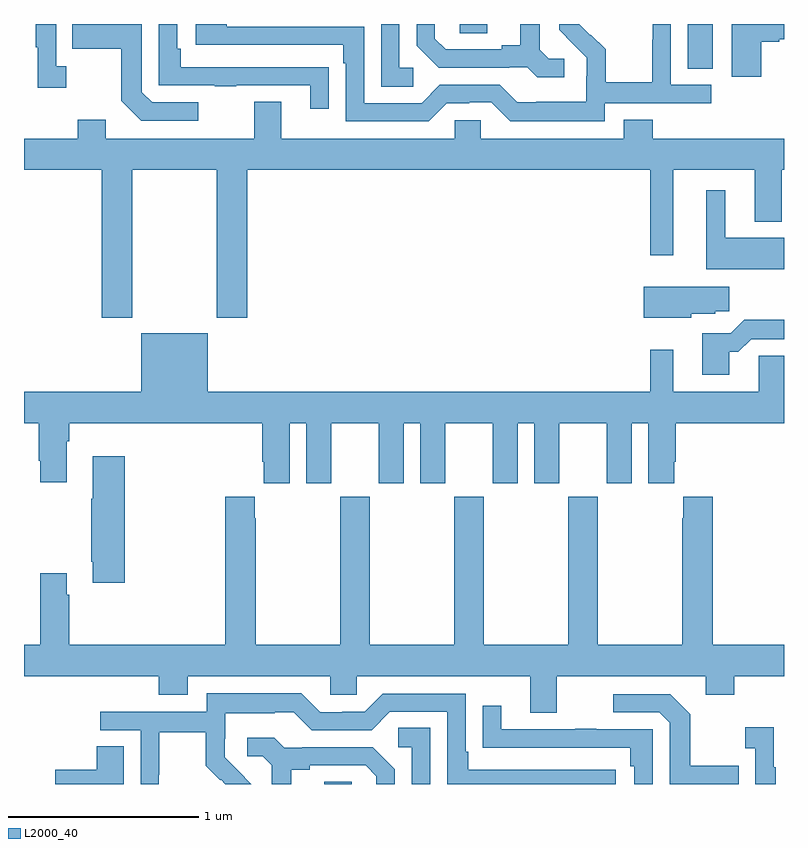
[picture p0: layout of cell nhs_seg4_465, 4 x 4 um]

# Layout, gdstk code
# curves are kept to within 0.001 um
import gdstk
lib = gdstk.Library(unit=1e-6, precision=1e-09)
def R(c, l, rs):  # rectangles x0, y0, x1, y1
    for r in rs: c.add(gdstk.rectangle(r[:2], r[2:], *l))
def P(c, l, *ps):  # polygons
    for p in ps: c.add(gdstk.Polygon(p, *l))
L2000_40 = (2000, 40)

nhs_seg4_465 = lib.new_cell('nhs_seg4_465')
R(nhs_seg4_465, L2000_40, [(134.579,814.9,134.724,814.913), (136.493,818.665,136.624,818.9), (135.294,818.851,135.439,818.9)])
P(nhs_seg4_465, L2000_40, [(135.844,818.718),(135.762,818.718),(135.715,818.765),(135.715,818.9),(135.611,818.9),(135.611,818.789),(135.515,818.789),(135.515,818.766),(135.22,818.766),(135.163,818.823),(135.163,818.9),(135.066,818.9),(135.066,818.786),(135.182,818.67),(135.554,818.67),(135.554,818.673),(135.648,818.673),(135.7,818.621),(135.844,818.621)],
  [(136.056,818.484),(136.618,818.484),(136.618,818.58),(136.404,818.58),(136.404,818.9),(136.308,818.9),(136.308,818.816),(136.306,818.816),(136.306,818.593),(136.061,818.593),(136.061,818.767),(135.984,818.844),(135.981,818.841),(135.923,818.9),(135.816,818.9),(135.816,818.87),(135.962,818.722),(135.962,818.625),(135.96,818.625),(135.96,818.491),(135.697,818.491),(135.697,818.487),(135.597,818.487),(135.504,818.58),(135.189,818.58),(135.093,818.484),(134.79,818.484),(134.79,818.886),(134.066,818.886),(134.066,818.9),(133.905,818.9),(133.905,818.79),(134.681,818.79),(134.681,818.693),(134.694,818.693),(134.694,818.388),(135.129,818.388),(135.225,818.484),(135.344,818.484),(135.344,818.487),(135.459,818.487),(135.559,818.387),(136.056,818.387)],
  [(135.049,818.67),(134.976,818.67),(134.976,818.9),(134.88,818.9),(134.88,818.569),(135.049,818.569)],
  [(136.879,818.807),(136.975,818.807),(136.975,818.819),(137,818.819),(137,818.9),(136.724,818.9),(136.724,818.622),(136.879,818.622)],
  [(133.918,818.487),(133.674,818.487),(133.62,818.541),(133.62,818.9),(133.255,818.9),(133.255,818.77),(133.512,818.77),(133.512,818.497),(133.617,818.391),(133.918,818.391)],
  [(134.603,818.672),(134.501,818.672),(134.501,818.673),(133.826,818.673),(133.826,818.77),(133.806,818.77),(133.806,818.9),(133.71,818.9),(133.71,818.577),(134.005,818.577),(134.005,818.572),(134.117,818.572),(134.117,818.577),(134.507,818.577),(134.507,818.454),(134.603,818.454)],
  [(133.222,818.678),(133.17,818.678),(133.17,818.9),(133.062,818.9),(133.062,818.777),(133.073,818.777),(133.073,818.565),(133.222,818.565)],
  [(133.569,818.132),(134.014,818.132),(134.014,817.353),(134.174,817.353),(134.174,818.132),(136.296,818.132),(136.296,817.683),(136.417,817.683),(136.417,818.132),(136.847,818.132),(136.847,817.859),(136.987,817.859),(136.987,818.132),(137,818.132),(137,818.296),(136.31,818.296),(136.31,818.395),(136.157,818.395),(136.157,818.296),(135.405,818.296),(135.405,818.394),(135.267,818.394),(135.267,818.296),(134.353,818.296),(134.353,818.491),(134.213,818.491),(134.213,818.296),(133.429,818.296),(133.429,818.395),(133.282,818.395),(133.282,818.296),(133,818.296),(133,818.132),(133.409,818.132),(133.409,817.353),(133.569,817.353)],
  [(137,817.774),(136.69,817.774),(136.69,818.026),(136.592,818.026),(136.592,817.61),(137,817.61)],
  [(136.512,817.376),(136.638,817.376),(136.638,817.387),(136.711,817.387),(136.711,817.516),(136.262,817.516),(136.262,817.355),(136.512,817.355)],
  [(136.711,817.175),(136.76,817.175),(136.827,817.242),(137,817.242),(137,817.343),(136.79,817.343),(136.719,817.272),(136.571,817.272),(136.571,817.053),(136.711,817.053)],
  [(134.398,816.8),(134.486,816.8),(134.486,816.483),(134.617,816.483),(134.617,816.8),(134.867,816.8),(134.867,816.483),(134.998,816.483),(134.998,816.8),(135.086,816.8),(135.086,816.483),(135.217,816.483),(135.217,816.8),(135.467,816.8),(135.467,816.483),(135.598,816.483),(135.598,816.8),(135.686,816.8),(135.686,816.483),(135.817,816.483),(135.817,816.8),(136.067,816.8),(136.067,816.483),(136.198,816.483),(136.198,816.8),(136.286,816.8),(136.286,816.483),(136.423,816.483),(136.423,816.595),(136.43,816.595),(136.43,816.8),(137,816.8),(137,817.154),(136.866,817.154),(136.866,816.964),(136.417,816.964),(136.417,817.186),(136.296,817.186),(136.296,816.964),(133.966,816.964),(133.966,817.273),(133.616,817.273),(133.616,816.964),(133,816.964),(133,816.8),(133.078,816.8),(133.078,816.601),(133.085,816.601),(133.085,816.489),(133.225,816.489),(133.225,816.704),(133.238,816.704),(133.238,816.8),(134.255,816.8),(134.255,816.595),(134.261,816.595),(134.261,816.483),(134.398,816.483)],
  [(133.529,816.625),(133.361,816.625),(133.361,816.401),(133.354,816.401),(133.354,816.07),(133.361,816.07),(133.361,815.958),(133.529,815.958)],
  [(135.805,815.468),(136.589,815.468),(136.589,815.369),(136.737,815.369),(136.737,815.468),(137,815.468),(137,815.632),(136.625,815.632),(136.625,816.412),(136.469,816.412),(136.469,816.299),(136.465,816.299),(136.465,815.632),(136.02,815.632),(136.02,816.412),(135.865,816.412),(135.865,815.632),(135.42,815.632),(135.42,816.412),(135.265,816.412),(135.265,815.632),(134.82,815.632),(134.82,816.412),(134.665,816.412),(134.665,815.632),(134.22,815.632),(134.22,816.299),(134.215,816.299),(134.215,816.412),(134.06,816.412),(134.06,815.632),(133.238,815.632),(133.238,815.897),(133.225,815.897),(133.225,816.01),(133.085,816.01),(133.085,815.632),(133,815.632),(133,815.468),(133.709,815.468),(133.709,815.369),(133.861,815.369),(133.861,815.468),(134.613,815.468),(134.613,815.37),(134.751,815.37),(134.751,815.468),(135.665,815.468),(135.665,815.274),(135.805,815.274)],
  [(133.71,814.948),(133.713,814.948),(133.713,815.172),(133.957,815.172),(133.957,814.997),(134.034,814.92),(134.037,814.923),(134.06,814.9),(134.196,814.9),(134.056,815.042),(134.056,815.139),(134.058,815.139),(134.058,815.273),(134.321,815.273),(134.321,815.277),(134.421,815.277),(134.514,815.184),(134.829,815.184),(134.925,815.28),(135.228,815.28),(135.228,814.9),(136.114,814.9),(136.114,814.974),(135.337,814.974),(135.337,815.071),(135.324,815.071),(135.324,815.376),(134.889,815.376),(134.793,815.28),(134.675,815.28),(134.675,815.277),(134.559,815.277),(134.459,815.377),(133.962,815.377),(133.962,815.28),(133.401,815.28),(133.401,815.184),(133.614,815.184),(133.614,814.9),(133.71,814.9)],
  [(136.763,814.995),(136.507,814.995),(136.507,815.267),(136.401,815.373),(136.101,815.373),(136.101,815.277),(136.344,815.277),(136.398,815.223),(136.398,814.9),(136.763,814.9)],
  [(136.308,815.187),(136.013,815.187),(136.013,815.192),(135.901,815.192),(135.901,815.187),(135.511,815.187),(135.511,815.311),(135.415,815.311),(135.415,815.092),(135.517,815.092),(135.517,815.091),(136.192,815.091),(136.192,814.994),(136.212,814.994),(136.212,814.9),(136.308,814.9)],
  [(136.957,814.987),(136.945,814.987),(136.945,815.2),(136.797,815.2),(136.797,815.087),(136.848,815.087),(136.848,814.9),(136.957,814.9)],
  [(135.138,815.195),(134.97,815.195),(134.97,815.094),(135.042,815.094),(135.042,814.9),(135.138,814.9)],
  [(134.407,814.976),(134.503,814.976),(134.503,814.998),(134.798,814.998),(134.855,814.941),(134.855,814.9),(134.952,814.9),(134.952,814.978),(134.836,815.094),(134.464,815.094),(134.464,815.091),(134.37,815.091),(134.318,815.143),(134.175,815.143),(134.175,815.046),(134.256,815.046),(134.303,814.999),(134.303,814.9),(134.407,814.9)],
  [(133.525,815.099),(133.382,815.099),(133.382,814.976),(133.164,814.976),(133.164,814.9),(133.525,814.9)])

lib.write_gds('nhs_seg4_465.gds')
